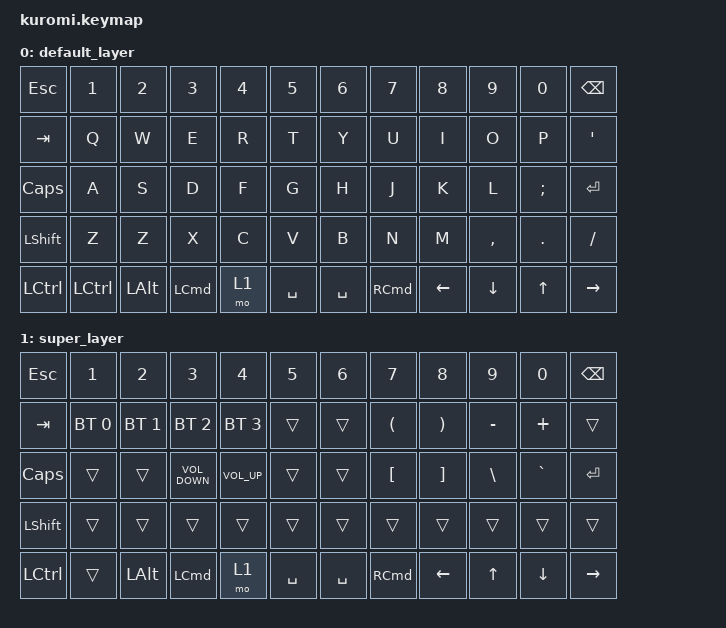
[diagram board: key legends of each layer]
// This file was generated from a template. Edit it to match your keyboard.
// See https://zmk.dev/docs/development/hardware-integration/new-shield for more instructions.

#include <behaviors.dtsi>
#include <dt-bindings/zmk/keys.h>
#include <dt-bindings/zmk/bt.h>


/ {
    // Define a default keymap here.
    // See https://zmk.dev/docs/development/hardware-integration/new-shield#default-keymap.
    keymap {
        compatible = "zmk,keymap";

        default_layer {
            bindings = <
                &kp ESCAPE  &kp N1      &kp N2      &kp N3      &kp N4  &kp N5          &kp N6      &kp N7      &kp N8      &kp N9      &kp N0          &kp BACKSPACE
                &kp TAB     &kp Q       &kp W       &kp E       &kp R   &kp T           &kp Y       &kp U       &kp I       &kp O       &kp P           &kp APOSTROPHE
                &kp CAPS    &kp A       &kp S       &kp D       &kp F   &kp G           &kp H       &kp J       &kp K       &kp L       &kp SEMICOLON   &kp RETURN
                &kp LSHIFT  &kp Z       &kp Z       &kp X       &kp C   &kp V           &kp B       &kp N       &kp M       &kp COMMA   &kp PERIOD      &kp SLASH
                &kp LCTRL   &kp LCTRL   &kp LALT    &kp LCMD    &mo 1  &kp SPACE        &kp SPACE   &kp RCMD    &kp LEFT    &kp DOWN      &kp UP          &kp RIGHT



            >;
        };

        super_layer {
            bindings = <
                &kp ESCAPE  &kp N1          &kp N2          &kp N3              &kp N4          &kp N5          &kp N6      &kp N7      &kp N8      &kp N9          &kp N0      &kp BACKSPACE
                &kp TAB     &bt BT_SEL 0    &bt BT_SEL 1    &bt BT_SEL 2        &bt BT_SEL 3    &trans          &trans      &kp LPAR    &kp RPAR    &kp MINUS       &kp PLUS    &trans
                &kp CAPS    &trans          &trans          &kp C_VOLUME_DOWN   &kp C_VOLUME_UP &trans          &trans      &kp LBKT    &kp RBKT    &kp BACKSLASH   &kp GRAVE   &kp RETURN
                &kp LSHIFT  &trans          &trans          &trans              &trans          &trans          &trans      &trans      &trans      &trans          &trans      &trans
                &kp LCTRL   &trans          &kp LALT        &kp LCMD            &mo 1           &kp SPACE       &kp SPACE   &kp RCMD    &kp LEFT    &kp UP          &kp DOWN    &kp RIGHT
            >;
        };
    };
};
